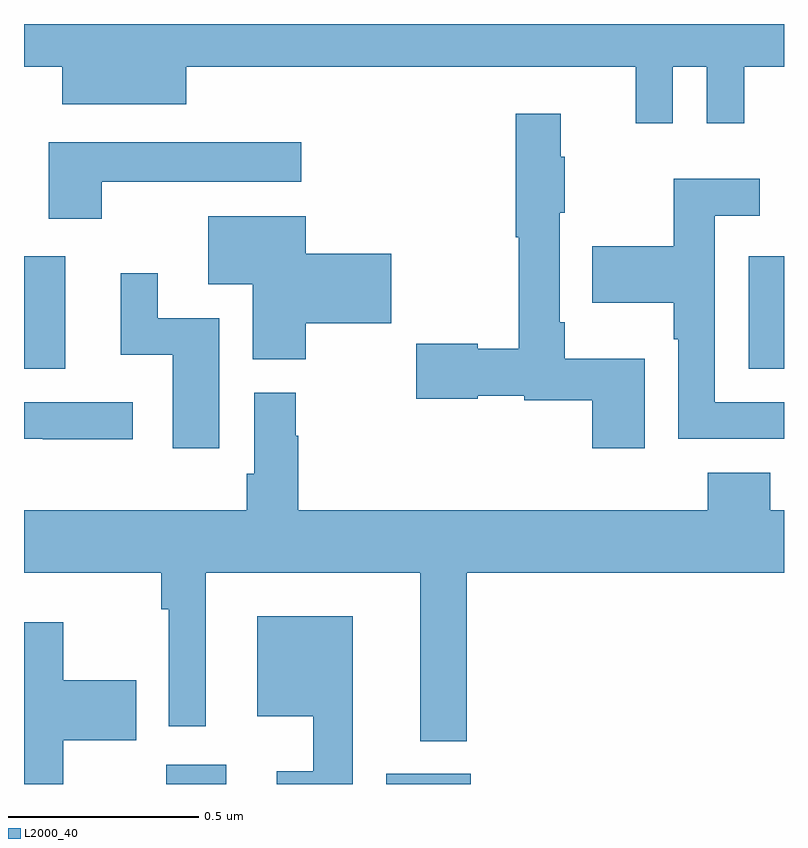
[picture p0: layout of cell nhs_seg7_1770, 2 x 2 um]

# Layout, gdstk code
import gdstk
lib = gdstk.Library(unit=1e-6, precision=1e-09)
def R(c, l, rs):  # rectangles x0, y0, x1, y1
    for r in rs: c.add(gdstk.rectangle(r[:2], r[2:], *l))
def P(c, l, *ps):  # polygons
    for p in ps: c.add(gdstk.Polygon(p, *l))
L2000_40 = (2000, 40)

nhs_seg7_1770 = lib.new_cell('nhs_seg7_1770')
R(nhs_seg7_1770, L2000_40, [(135.374,1060,135.532,1060.051), (135.953,1060,136.176,1060.027), (135,1061.093,135.109,1061.389), (136.907,1061.093,137,1061.389)])
P(nhs_seg7_1770, L2000_40, [(135,1061.888),(135.101,1061.888),(135.101,1061.789),(135.427,1061.789),(135.427,1061.888),(136.61,1061.888),(136.61,1061.739),(136.707,1061.739),(136.707,1061.888),(136.797,1061.888),(136.797,1061.739),(136.895,1061.739),(136.895,1061.888),(137,1061.888),(137,1062),(135,1062)],
  [(136.633,1061.119),(136.423,1061.119),(136.423,1061.215),(136.41,1061.215),(136.41,1061.503),(136.423,1061.503),(136.423,1061.651),(136.412,1061.651),(136.412,1061.764),(136.294,1061.764),(136.294,1061.439),(136.302,1061.439),(136.302,1061.146),(136.194,1061.146),(136.194,1061.158),(136.032,1061.158),(136.032,1061.014),(136.194,1061.014),(136.194,1061.022),(136.317,1061.022),(136.317,1061.01),(136.495,1061.01),(136.495,1060.884),(136.633,1060.884)],
  [(135.205,1061.585),(135.73,1061.585),(135.73,1061.689),(135.065,1061.689),(135.065,1061.487),(135.205,1061.487)],
  [(137,1061.004),(136.818,1061.004),(136.818,1061.496),(136.936,1061.496),(136.936,1061.593),(136.71,1061.593),(136.71,1061.415),(136.495,1061.415),(136.495,1061.267),(136.71,1061.267),(136.71,1061.171),(136.722,1061.171),(136.722,1060.908),(137,1060.908)],
  [(135.742,1061.213),(135.967,1061.213),(135.967,1061.396),(135.742,1061.396),(135.742,1061.494),(135.485,1061.494),(135.485,1061.315),(135.602,1061.315),(135.602,1061.118),(135.742,1061.118)],
  [(135.514,1061.226),(135.352,1061.226),(135.352,1061.344),(135.254,1061.344),(135.254,1061.13),(135.392,1061.13),(135.392,1060.884),(135.514,1060.884)],
  [(136.165,1060.556),(137,1060.556),(137,1060.72),(136.964,1060.72),(136.964,1060.819),(136.799,1060.819),(136.799,1060.72),(135.722,1060.72),(135.722,1060.916),(135.715,1060.916),(135.715,1061.029),(135.606,1061.029),(135.606,1060.816),(135.586,1060.816),(135.586,1060.72),(135,1060.72),(135,1060.556),(135.361,1060.556),(135.361,1060.46),(135.381,1060.46),(135.381,1060.152),(135.478,1060.152),(135.478,1060.556),(136.043,1060.556),(136.043,1060.112),(136.165,1060.112)],
  [(135.286,1061.004),(135,1061.004),(135,1060.908),(135.049,1060.908),(135.049,1060.907),(135.286,1060.907)],
  [(135.865,1060.441),(135.614,1060.441),(135.614,1060.178),(135.761,1060.178),(135.761,1060.033),(135.665,1060.033),(135.665,1060),(135.865,1060)],
  [(135.103,1060.115),(135.296,1060.115),(135.296,1060.273),(135.103,1060.273),(135.103,1060.426),(135,1060.426),(135,1060),(135.103,1060)])

lib.write_gds('nhs_seg7_1770.gds')
